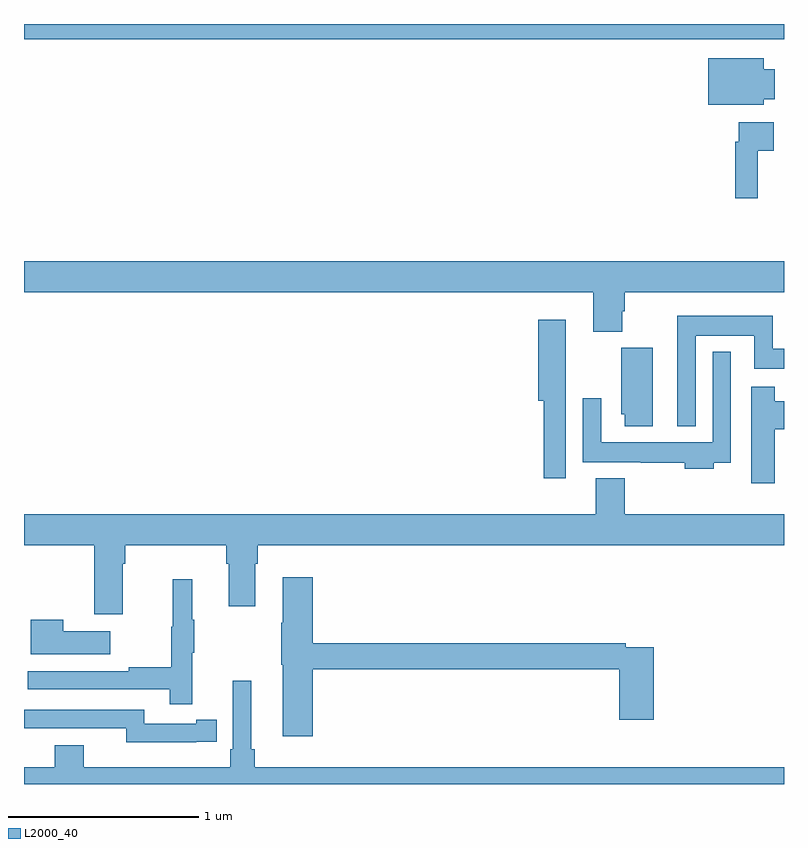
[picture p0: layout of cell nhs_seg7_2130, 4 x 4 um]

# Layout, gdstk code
import gdstk
lib = gdstk.Library(unit=1e-6, precision=1e-09)
def R(c, l, rs):  # rectangles x0, y0, x1, y1
    for r in rs: c.add(gdstk.rectangle(r[:2], r[2:], *l))
def P(c, l, *ps):  # polygons
    for p in ps: c.add(gdstk.Polygon(p, *l))
L2000_40 = (2000, 40)

nhs_seg7_2130 = lib.new_cell('nhs_seg7_2130')
R(nhs_seg7_2130, L2000_40, [(251,1029.92,255,1030)])
P(nhs_seg7_2130, L2000_40, [(254.893,1029.605),(254.95,1029.605),(254.95,1029.763),(254.893,1029.763),(254.893,1029.82),(254.6,1029.82),(254.6,1029.575),(254.893,1029.575)],
  [(254.861,1029.332),(254.947,1029.332),(254.947,1029.484),(254.763,1029.484),(254.763,1029.38),(254.743,1029.38),(254.743,1029.084),(254.861,1029.084)],
  [(254.149,1028.489),(254.162,1028.489),(254.162,1028.588),(255,1028.588),(255,1028.752),(251,1028.752),(251,1028.588),(253.997,1028.588),(253.997,1028.38),(254.149,1028.38)],
  [(254.535,1028.36),(254.844,1028.36),(254.844,1028.186),(255,1028.186),(255,1028.29),(254.942,1028.29),(254.942,1028.464),(254.438,1028.464),(254.438,1027.883),(254.535,1027.883)],
  [(253.851,1028.122),(253.852,1028.122),(253.852,1028.443),(253.706,1028.443),(253.706,1028.018),(253.735,1028.018),(253.735,1027.608),(253.851,1027.608)],
  [(254.308,1028.295),(254.144,1028.295),(254.144,1027.947),(254.162,1027.947),(254.162,1027.884),(254.308,1027.884)],
  [(254.629,1027.692),(254.721,1027.692),(254.721,1028.275),(254.625,1028.275),(254.625,1027.798),(254.037,1027.798),(254.037,1028.029),(253.941,1028.029),(253.941,1027.694),(254.245,1027.694),(254.245,1027.692),(254.477,1027.692),(254.477,1027.658),(254.629,1027.658)],
  [(254.95,1027.867),(255,1027.867),(255,1028.014),(254.95,1028.014),(254.95,1028.092),(254.828,1028.092),(254.828,1027.584),(254.95,1027.584)],
  [(251.521,1027.16),(251.534,1027.16),(251.534,1027.256),(252.065,1027.256),(252.065,1027.16),(252.077,1027.16),(252.077,1026.936),(252.217,1026.936),(252.217,1027.16),(252.23,1027.16),(252.23,1027.256),(255,1027.256),(255,1027.42),(254.162,1027.42),(254.162,1027.609),(254.009,1027.609),(254.009,1027.42),(251,1027.42),(251,1027.256),(251.369,1027.256),(251.369,1026.894),(251.521,1026.894)],
  [(252.521,1026.604),(254.132,1026.604),(254.132,1026.339),(254.315,1026.339),(254.315,1026.72),(254.168,1026.72),(254.168,1026.74),(252.521,1026.74),(252.521,1027.087),(252.362,1027.087),(252.362,1026.848),(252.355,1026.848),(252.355,1026.627),(252.362,1026.627),(252.362,1026.252),(252.521,1026.252)],
  [(251.885,1026.691),(251.896,1026.691),(251.896,1026.865),(251.885,1026.865),(251.885,1027.078),(251.782,1027.078),(251.782,1026.828),(251.775,1026.828),(251.775,1026.614),(251.551,1026.614),(251.551,1026.594),(251.019,1026.594),(251.019,1026.498),(251.767,1026.498),(251.767,1026.42),(251.885,1026.42)],
  [(251.455,1026.805),(251.207,1026.805),(251.207,1026.865),(251.036,1026.865),(251.036,1026.683),(251.455,1026.683)],
  [(255,1026.088),(252.215,1026.088),(252.215,1026.184),(252.196,1026.184),(252.196,1026.544),(252.099,1026.544),(252.099,1026.184),(252.086,1026.184),(252.086,1026.088),(251.314,1026.088),(251.314,1026.205),(251.162,1026.205),(251.162,1026.088),(251,1026.088),(251,1026),(255,1026)],
  [(251.906,1026.222),(252.014,1026.222),(252.014,1026.338),(251.906,1026.338),(251.906,1026.318),(251.634,1026.318),(251.634,1026.39),(251,1026.39),(251,1026.293),(251.078,1026.293),(251.078,1026.294),(251.538,1026.294),(251.538,1026.221),(251.906,1026.221)])

lib.write_gds('nhs_seg7_2130.gds')
